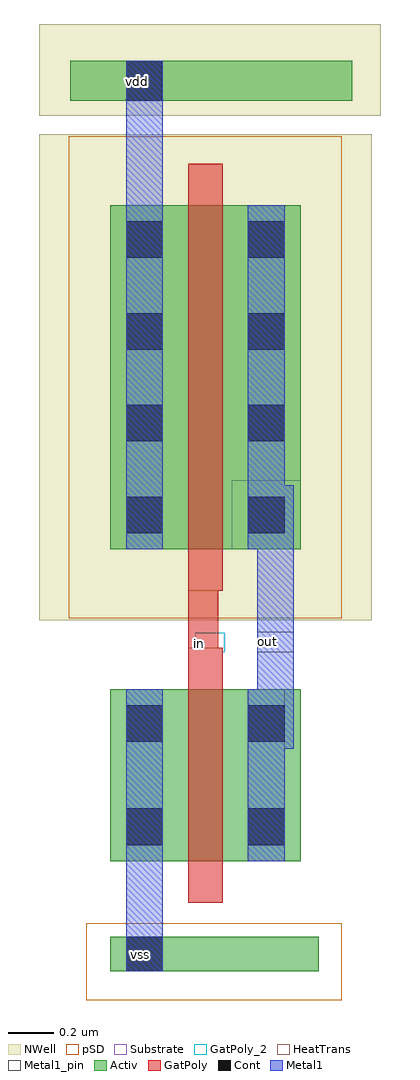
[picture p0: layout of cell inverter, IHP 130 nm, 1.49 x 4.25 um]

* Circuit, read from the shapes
.subckt inverter in out vdd vss
XM1 out in vss vss sg13_lv_nmos w=0.75u l=0.15u
XM2 out in vdd n1 sg13_lv_pmos w=1.5u l=0.15u
.ends

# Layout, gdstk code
import gdstk
lib = gdstk.Library(unit=1e-6, precision=5e-09)
def R(c, l, rs):  # rectangles x0, y0, x1, y1
    for r in rs: c.add(gdstk.rectangle(r[:2], r[2:], *l))
def A(c, l, x, y, w, h, nx, ny, dx, dy):  # array of equal rectangles
    R(c, l, [(x+i*dx, y+j*dy, x+i*dx+w, y+j*dy+h) for i in range(nx) for j in range(ny)])
Activ = (1, 0)
GatPoly = (5, 0)
GatPoly_2 = (5, 2)
Cont = (6, 0)
Metal1 = (8, 0)
Metal1_pin = (8, 2)
pSD = (14, 0)
NWell = (31, 0)
Substrate = (40, 0)
HeatTrans = (51, 0)

nmos_1 = lib.new_cell('nmos$1')
R(nmos_1, Activ, [(0,0,0.3,0.3), (0,0,0.83,0.75), (0.53,0,0.83,0.3)])
R(nmos_1, GatPoly, [(0.34,-0.18,0.49,0.93)])
R(nmos_1, GatPoly_2, [(0.34,-0.18,0.49,0.93)])
R(nmos_1, Cont, [(0.07,0.07,0.23,0.23), (0.6,0.07,0.76,0.23), (0.07,0.52,0.23,0.68), (0.6,0.52,0.76,0.68)])
R(nmos_1, Metal1, [(0.07,0,0.23,0.75), (0.6,0,0.76,0.75)])
R(nmos_1, Metal1_pin, [(0.07,0,0.23,0.75), (0.6,0,0.76,0.75)])
R(nmos_1, HeatTrans, [(0.34,-0.18,0.49,0.93)])
nmos_1.add(gdstk.Label('nmos', (0.415,0.375), layer=63, texttype=0))
nmos_1.add(gdstk.Label('nmos', (0.415,0.375), layer=51, texttype=0))

pmos = lib.new_cell('pmos')
R(pmos, Activ, [(0,0,0.3,0.3), (0,0,0.83,1.5), (0.53,0,0.83,0.3)])
R(pmos, GatPoly, [(0.34,-0.18,0.49,1.68), (0.34,-0.18,0.49,1.68)])
A(pmos, Cont, 0.07, 0.07, 0.16, 0.16, 1, 4, 0, 0.4)
A(pmos, Cont, 0.6, 0.07, 0.16, 0.16, 1, 4, 0, 0.4)
R(pmos, Metal1, [(0.07,0,0.23,1.5), (0.07,0,0.23,1.5), (0.6,0,0.76,1.5), (0.6,0,0.76,1.5)])
R(pmos, pSD, [(-0.18,-0.3,1.01,1.8)])
R(pmos, NWell, [(-0.31,-0.31,1.14,1.81)])
R(pmos, Substrate, [(0.53,0,0.83,0.3)])
R(pmos, HeatTrans, [(0.34,-0.18,0.49,1.68)])
pmos.add(gdstk.Label('pmos', (0.415,0.75), layer=63, texttype=0))
pmos.add(gdstk.Label('pmos', (0.415,0.75), layer=51, texttype=0))

inverter = lib.new_cell('inverter')
R(inverter, Activ, [(-0.225,-1.71,0.685,-1.56), (-0.4,2.085,0.83,2.26)])
R(inverter, GatPoly, [(0.115,-0.355,0.245,0.025)])
R(inverter, GatPoly_2, [(0.145,-0.32,0.275,-0.235)])
R(inverter, Cont, [(-0.155,-1.71,0.005,-1.56), (-0.155,2.085,0.005,2.26)])
R(inverter, Metal1, [(-0.155,-1.71,0.005,-0.54), (-0.155,-1.185,0.005,-0.53), (0.415,-0.74,0.575,0.41), (-0.155,0.13,0.005,2.26), (-0.155,0.21,0.005,1.135)])
R(inverter, Metal1_pin, [(-0.155,-1.71,0.005,-1.56), (0.415,-0.32,0.575,-0.23), (-0.155,2.085,0,2.26)])
R(inverter, pSD, [(-0.33,-1.835,0.785,-1.5)])
R(inverter, NWell, [(-0.535,2.02,0.955,2.42)])
inverter.add(gdstk.Reference(nmos_1, (-0.225,-1.23)))
inverter.add(gdstk.Reference(pmos, (-0.225,0.13)))
inverter.add(gdstk.Label('vdd', (-0.105,2.17), layer=8, texttype=2))
inverter.add(gdstk.Label('vss', (-0.095,-1.635), layer=8, texttype=2))
inverter.add(gdstk.Label('out', (0.46,-0.27), layer=8, texttype=2))
inverter.add(gdstk.Label('in', (0.165,-0.28), layer=5, texttype=2))

lib.write_gds('inverter.gds')
